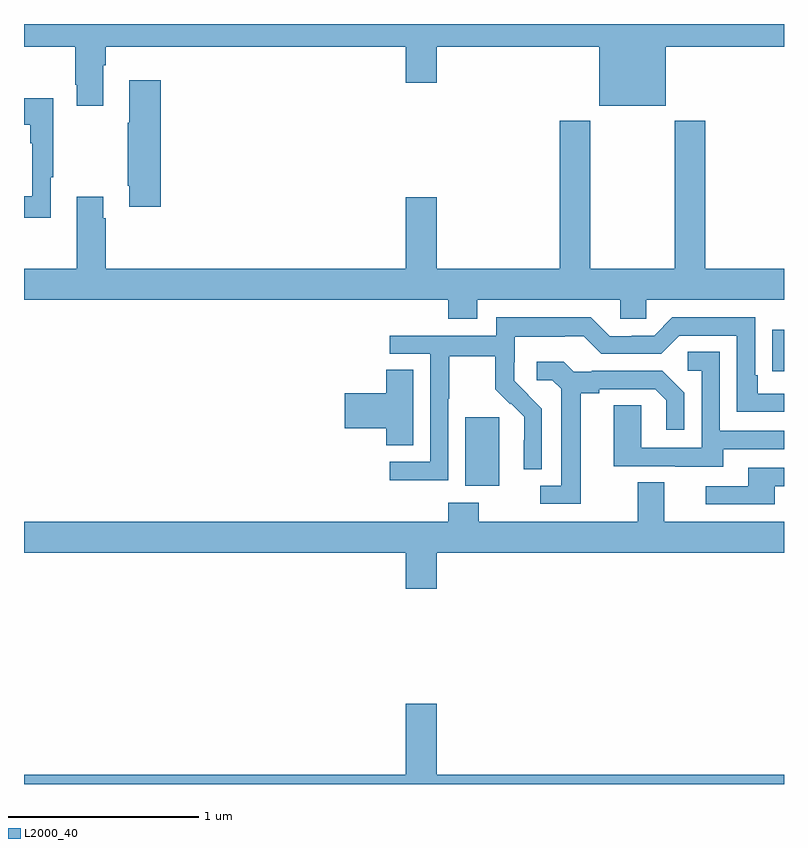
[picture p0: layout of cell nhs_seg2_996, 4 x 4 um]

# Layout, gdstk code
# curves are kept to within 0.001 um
import gdstk
lib = gdstk.Library(unit=1e-6, precision=1e-09)
def R(c, l, rs):  # rectangles x0, y0, x1, y1
    for r in rs: c.add(gdstk.rectangle(r[:2], r[2:], *l))
def P(c, l, *ps):  # polygons
    for p in ps: c.add(gdstk.Polygon(p, *l))
L2000_40 = (2000, 40)

nhs_seg2_996 = lib.new_cell('nhs_seg2_996')
R(nhs_seg2_996, L2000_40, [(165.323,601.37,165.502,601.731), (166.939,601.972,167,602.191)])
P(nhs_seg2_996, L2000_40, [(163.417,603.584),(163.43,603.584),(163.43,603.68),(165.008,603.68),(165.008,603.492),(165.172,603.492),(165.172,603.68),(166.028,603.68),(166.028,603.371),(166.378,603.371),(166.378,603.68),(167,603.68),(167,603.8),(163,603.8),(163,603.68),(163.27,603.68),(163.27,603.481),(163.277,603.481),(163.277,603.369),(163.417,603.369)],
  [(163.721,603.505),(163.553,603.505),(163.553,603.281),(163.546,603.281),(163.546,602.95),(163.553,602.95),(163.553,602.838),(163.721,602.838)],
  [(163.141,602.993),(163.153,602.993),(163.153,603.409),(163,603.409),(163,603.269),(163.032,603.269),(163.032,603.173),(163.044,603.173),(163.044,602.894),(163,602.894),(163,602.781),(163.141,602.781)],
  [(165.385,602.348),(166.137,602.348),(166.137,602.25),(166.275,602.25),(166.275,602.348),(167,602.348),(167,602.512),(166.586,602.512),(166.586,603.292),(166.426,603.292),(166.426,602.512),(165.981,602.512),(165.981,603.292),(165.821,603.292),(165.821,602.512),(165.172,602.512),(165.172,602.887),(165.008,602.887),(165.008,602.512),(163.43,602.512),(163.43,602.777),(163.417,602.777),(163.417,602.89),(163.277,602.89),(163.277,602.512),(163,602.512),(163,602.348),(165.233,602.348),(165.233,602.249),(165.385,602.249)],
  [(165.234,601.828),(165.237,601.828),(165.237,602.052),(165.481,602.052),(165.481,601.877),(165.558,601.8),(165.561,601.803),(165.632,601.733),(165.632,601.61),(165.63,601.61),(165.63,601.456),(165.726,601.456),(165.726,601.774),(165.58,601.922),(165.58,602.019),(165.582,602.019),(165.582,602.153),(165.845,602.153),(165.845,602.157),(165.945,602.157),(166.038,602.064),(166.353,602.064),(166.449,602.16),(166.752,602.16),(166.752,601.758),(167,601.758),(167,601.854),(166.861,601.854),(166.861,601.951),(166.848,601.951),(166.848,602.256),(166.413,602.256),(166.317,602.16),(166.199,602.16),(166.199,602.157),(166.083,602.157),(165.983,602.257),(165.486,602.257),(165.486,602.16),(164.925,602.16),(164.925,602.064),(165.138,602.064),(165.138,601.497),(164.925,601.497),(164.925,601.399),(165.234,601.399)],
  [(166.681,601.563),(167,601.563),(167,601.659),(166.662,601.659),(166.662,602.075),(166.494,602.075),(166.494,601.974),(166.566,601.974),(166.566,601.569),(166.248,601.569),(166.248,601.793),(166.103,601.793),(166.103,601.473),(166.427,601.473),(166.427,601.469),(166.681,601.469)],
  [(165.931,601.856),(166.027,601.856),(166.027,601.878),(166.322,601.878),(166.379,601.821),(166.379,601.665),(166.476,601.665),(166.476,601.858),(166.36,601.974),(165.988,601.974),(165.988,601.971),(165.894,601.971),(165.842,602.023),(165.699,602.023),(165.699,601.926),(165.78,601.926),(165.827,601.879),(165.827,601.371),(165.717,601.371),(165.717,601.275),(165.931,601.275)],
  [(165.049,601.979),(164.906,601.979),(164.906,601.856),(164.688,601.856),(164.688,601.673),(164.906,601.673),(164.906,601.582),(165.049,601.582)],
  [(166.951,601.368),(167,601.368),(167,601.464),(166.811,601.464),(166.811,601.368),(166.587,601.368),(166.587,601.272),(166.951,601.272)],
  [(165.172,601.016),(167,601.016),(167,601.18),(166.369,601.18),(166.369,601.388),(166.229,601.388),(166.229,601.18),(165.393,601.18),(165.393,601.279),(165.233,601.279),(165.233,601.18),(163,601.18),(163,601.016),(165.008,601.016),(165.008,600.828),(165.172,600.828)],
  [(167,599.848),(165.172,599.848),(165.172,600.223),(165.008,600.223),(165.008,599.848),(163,599.848),(163,599.8),(167,599.8)])

lib.write_gds('nhs_seg2_996.gds')
